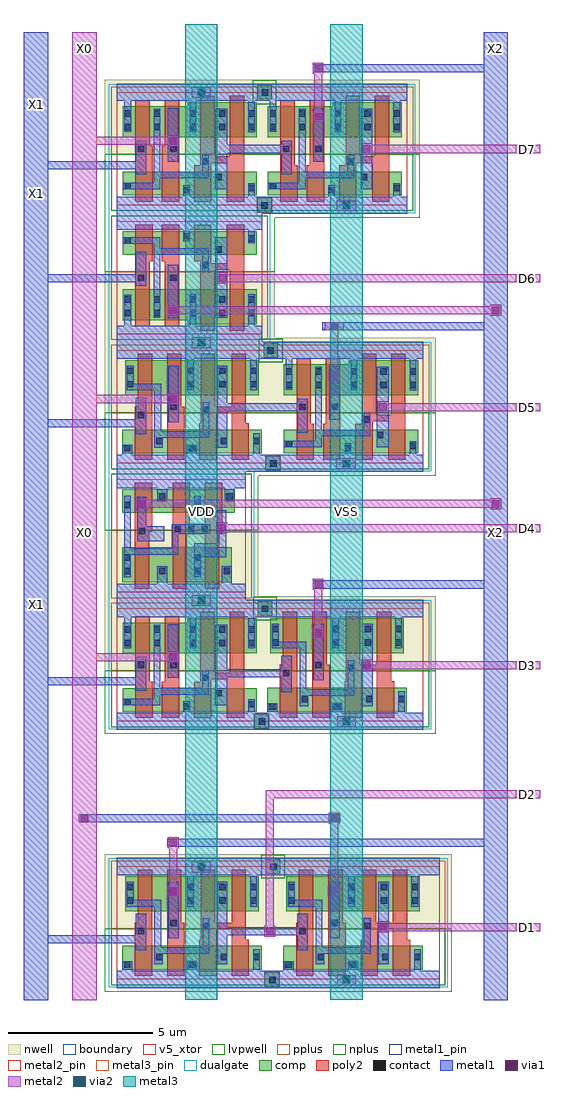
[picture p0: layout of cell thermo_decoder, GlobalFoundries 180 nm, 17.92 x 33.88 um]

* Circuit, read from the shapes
.subckt thermo_decoder D1 D2 D3 D4 D5 D6 D7 VDD VSS X0 X1 X2
XM1 n1 X1 VSS VSS nfet_05v0 w=0.82u l=0.6u
XM2 VSS X2 n2 VSS nfet_05v0 w=0.82u l=0.6u
XM3 n3 X1 VSS VSS nfet_05v0 w=0.82u l=0.6u
XM4 n4 X1 n5 VSS nfet_05v0 w=0.815u l=0.6u
XM5 n6 X1 n7 VSS nfet_05v0 w=0.815u l=0.6u
XM6 n8 X1 n9 VSS nfet_05v0 w=0.815u l=0.6u
XM7 VSS X0 n4 VSS nfet_05v0 w=0.815u l=0.6u
XM8 VSS X2 n6 VSS nfet_05v0 w=0.815u l=0.6u
XM9 VSS X0 n8 VSS nfet_05v0 w=0.815u l=0.6u
XM10 VSS X2 n1 VSS nfet_05v0 w=0.82u l=0.6u
XM11 VSS X0 n3 VSS nfet_05v0 w=0.82u l=0.6u
XM12 D4 n2 VSS VSS nfet_05v0 w=0.82u l=0.6u m=2
XM13 gf180mcu_fd_sc_mcu7t5v0__or2_2_3/A1 n5 VSS VSS nfet_05v0 w=0.815u l=0.6u m=2
XM14 D6 n7 VSS VSS nfet_05v0 w=0.815u l=0.6u m=2
XM15 gf180mcu_fd_sc_mcu7t5v0__and2_2_9/A1 n9 VSS VSS nfet_05v0 w=0.815u l=0.6u m=2
XM16 D2 n1 VSS VSS nfet_05v0 w=0.82u l=0.6u m=2
XM17 gf180mcu_fd_sc_mcu7t5v0__and2_2_5/A1 n3 VSS VSS nfet_05v0 w=0.82u l=0.6u m=2
XM18 n10 gf180mcu_fd_sc_mcu7t5v0__or2_2_3/A1 VSS VSS nfet_05v0 w=0.82u l=0.6u
XM19 n11 gf180mcu_fd_sc_mcu7t5v0__and2_2_9/A1 n12 VSS nfet_05v0 w=0.815u l=0.6u
XM20 n13 D2 VSS VSS nfet_05v0 w=0.82u l=0.6u
XM21 n14 gf180mcu_fd_sc_mcu7t5v0__and2_2_5/A1 n15 VSS nfet_05v0 w=0.815u l=0.6u
XM22 VSS X2 n11 VSS nfet_05v0 w=0.815u l=0.6u
XM23 VSS X2 n10 VSS nfet_05v0 w=0.82u l=0.6u
XM24 VSS X2 n14 VSS nfet_05v0 w=0.815u l=0.6u
XM25 VSS X0 n13 VSS nfet_05v0 w=0.82u l=0.6u
XM26 D7 n12 VSS VSS nfet_05v0 w=0.815u l=0.6u m=2
XM27 D3 n10 VSS VSS nfet_05v0 w=0.82u l=0.6u m=2
XM28 D5 n15 VSS VSS nfet_05v0 w=0.815u l=0.6u m=2
XM29 D1 n13 VSS VSS nfet_05v0 w=0.82u l=0.6u m=2
XM30 VDD X2 n2 VDD pfet_05v0 w=1.22u l=0.5u
XM31 n5 X1 VDD VDD pfet_05v0 w=1.07u l=0.5u
XM32 n7 X1 VDD VDD pfet_05v0 w=1.07u l=0.5u
XM33 n9 X1 VDD VDD pfet_05v0 w=1.07u l=0.5u
XM34 n16 X1 n1 VDD pfet_05v0 w=1.22u l=0.5u
XM35 n17 X1 n3 VDD pfet_05v0 w=1.22u l=0.5u
XM36 VDD X0 n5 VDD pfet_05v0 w=1.07u l=0.5u
XM37 VDD X2 n7 VDD pfet_05v0 w=1.07u l=0.5u
XM38 VDD X0 n9 VDD pfet_05v0 w=1.07u l=0.5u
XM39 VDD X2 n16 VDD pfet_05v0 w=1.22u l=0.5u
XM40 VDD X0 n17 VDD pfet_05v0 w=1.22u l=0.5u
XM41 D4 n2 VDD VDD pfet_05v0 w=1.22u l=0.5u m=2
XM42 gf180mcu_fd_sc_mcu7t5v0__or2_2_3/A1 n5 VDD VDD pfet_05v0 w=1.215u l=0.5u m=2
XM43 D6 n7 VDD VDD pfet_05v0 w=1.215u l=0.5u m=2
XM44 gf180mcu_fd_sc_mcu7t5v0__and2_2_9/A1 n9 VDD VDD pfet_05v0 w=1.215u l=0.5u m=2
XM45 D2 n1 VDD VDD pfet_05v0 w=1.22u l=0.5u m=2
XM46 gf180mcu_fd_sc_mcu7t5v0__and2_2_5/A1 n3 VDD VDD pfet_05v0 w=1.22u l=0.5u m=2
XM47 n12 gf180mcu_fd_sc_mcu7t5v0__and2_2_9/A1 VDD VDD pfet_05v0 w=1.07u l=0.5u
XM48 n18 gf180mcu_fd_sc_mcu7t5v0__or2_2_3/A1 n10 VDD pfet_05v0 w=1.22u l=0.5u
XM49 n15 gf180mcu_fd_sc_mcu7t5v0__and2_2_5/A1 VDD VDD pfet_05v0 w=1.07u l=0.5u
XM50 n19 D2 n13 VDD pfet_05v0 w=1.22u l=0.5u
XM51 VDD X2 n12 VDD pfet_05v0 w=1.07u l=0.5u
XM52 VDD X2 n18 VDD pfet_05v0 w=1.22u l=0.5u
XM53 VDD X2 n15 VDD pfet_05v0 w=1.07u l=0.5u
XM54 VDD X0 n19 VDD pfet_05v0 w=1.22u l=0.5u
XM55 D7 n12 VDD VDD pfet_05v0 w=1.215u l=0.5u m=2
XM56 D3 n10 VDD VDD pfet_05v0 w=1.22u l=0.5u m=2
XM57 D5 n15 VDD VDD pfet_05v0 w=1.215u l=0.5u m=2
XM58 D1 n13 VDD VDD pfet_05v0 w=1.22u l=0.5u m=2
.ends

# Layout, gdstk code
import gdstk
lib = gdstk.Library(unit=1e-6, precision=1e-09)
def R(c, l, rs):  # rectangles x0, y0, x1, y1
    for r in rs: c.add(gdstk.rectangle(r[:2], r[2:], *l))
def A(c, l, x, y, w, h, nx, ny, dx, dy):  # array of equal rectangles
    R(c, l, [(x+i*dx, y+j*dy, x+i*dx+w, y+j*dy+h) for i in range(nx) for j in range(ny)])
def P(c, l, *ps):  # polygons
    for p in ps: c.add(gdstk.Polygon(p, *l))
boundary = (0, 0)
nwell = (21, 0)
comp = (22, 0)
poly2 = (30, 0)
pplus = (31, 0)
nplus = (32, 0)
contact = (33, 0)
metal1 = (34, 0)
metal1_pin = (34, 10)
via1 = (35, 0)
metal2 = (36, 0)
metal2_pin = (36, 10)
via2 = (38, 0)
metal3 = (42, 0)
metal3_pin = (42, 10)
dualgate = (55, 0)
v5_xtor = (112, 1)
lvpwell = (204, 0)

gf180mcu_fd_sc_mcu7t5v0_ = lib.new_cell('gf180mcu_fd_sc_mcu7t5v0__or2_2')
R(gf180mcu_fd_sc_mcu7t5v0_, boundary, [(0,0,5.6,3.92)])
R(gf180mcu_fd_sc_mcu7t5v0_, nwell, [(-0.43,1.76,6.03,4.35)])
R(gf180mcu_fd_sc_mcu7t5v0_, comp, [(0.18,0.34,5.02,1.16), (0.28,2.36,4.92,3.58)])
P(gf180mcu_fd_sc_mcu7t5v0_, poly2, [(0.62,0.12),(0.62,1.97),(0.72,1.97),(0.72,3.8),(1.22,3.8),(1.22,0.12)],
  [(1.74,0.12),(1.74,3.8),(2.24,3.8),(2.24,1.97),(2.34,1.97),(2.34,0.12)],
  [(2.86,0.12),(2.86,1.385),(2.91,1.385),(2.91,3.8),(3.41,3.8),(3.41,1.97),(3.98,1.97),(3.98,3.8),(4.48,3.8),(4.48,1.385),(4.58,1.385),(4.58,0.12),(3.98,0.12),(3.98,1.74),(3.46,1.74),(3.46,0.12)])
R(gf180mcu_fd_sc_mcu7t5v0_, pplus, [(-0.2,1.76,5.8,4.12)])
R(gf180mcu_fd_sc_mcu7t5v0_, nplus, [(-0.2,-0.2,5.8,1.76)])
R(gf180mcu_fd_sc_mcu7t5v0_, contact, [(0.25,0.41,0.47,0.63), (2.49,0.41,2.71,0.63), (1.37,0.665,1.59,0.885), (3.61,0.665,3.83,0.885), (4.73,0.665,4.95,0.885), (0.73,1.565,0.95,1.785), (2.98,1.745,3.2,1.965), (1.85,1.85,2.07,2.07), (0.35,2.63,0.57,2.85), (2.44,2.63,2.66,2.85), (3.56,2.63,3.78,2.85), (4.63,2.63,4.85,2.85), (0.35,3.1,0.57,3.32), (2.44,3.1,2.66,3.32), (3.56,3.1,3.78,3.32), (4.63,3.1,4.85,3.32)])
R(gf180mcu_fd_sc_mcu7t5v0_, metal1, [(3.48,0.53,3.835,3.39), (0.66,1.015,1.02,2.28), (1.78,1.43,2.14,3.39)])
P(gf180mcu_fd_sc_mcu7t5v0_, metal1, [(1.3,0.53),(1.3,2.53),(0.345,2.53),(0.345,3.39),(0.575,3.39),(0.575,2.765),(1.53,2.765),(1.53,1.115),(2.975,1.115),(2.975,2.115),(3.205,2.115),(3.205,0.885),(1.595,0.885),(1.595,0.53)],
  [(0,-0.3),(0,0.3),(0.19,0.3),(0.19,0.635),(0.53,0.635),(0.53,0.3),(2.43,0.3),(2.43,0.635),(2.77,0.635),(2.77,0.3),(4.725,0.3),(4.725,1.045),(4.955,1.045),(4.955,0.3),(5.6,0.3),(5.6,-0.3)],
  [(2.435,2.53),(2.435,3.62),(0,3.62),(0,4.22),(5.6,4.22),(5.6,3.62),(4.855,3.62),(4.855,2.53),(4.625,2.53),(4.625,3.62),(2.665,3.62),(2.665,2.53)])
R(gf180mcu_fd_sc_mcu7t5v0_, dualgate, [(-0.28,-0.28,5.88,4.2)])
R(gf180mcu_fd_sc_mcu7t5v0_, v5_xtor, [(0,0,5.6,3.92)])
R(gf180mcu_fd_sc_mcu7t5v0_, lvpwell, [(-0.43,-0.43,6.03,1.76)])
gf180mcu_fd_sc_mcu7t5v0_.add(gdstk.Label('VDD', (2.8,3.915), layer=34, texttype=10))
gf180mcu_fd_sc_mcu7t5v0_.add(gdstk.Label('VSS', (2.8,-0.005), layer=34, texttype=10))
gf180mcu_fd_sc_mcu7t5v0_.add(gdstk.Label('Z', (3.64,1.96), layer=34, texttype=10))
gf180mcu_fd_sc_mcu7t5v0_.add(gdstk.Label('A1', (0.84,1.4), layer=34, texttype=10))
gf180mcu_fd_sc_mcu7t5v0_.add(gdstk.Label('A2', (1.96,2.52), layer=34, texttype=10))
gf180mcu_fd_sc_mcu7t5v0_.add(gdstk.Label('& Vendor GLOBALFOUNDRIES', (0,2), layer=63, texttype=63))
gf180mcu_fd_sc_mcu7t5v0_.add(gdstk.Label('& Product GF018hv5v_mcu_sc7', (0,1.5), layer=63, texttype=63))
gf180mcu_fd_sc_mcu7t5v0_.add(gdstk.Label('& Version 2015q2v1', (0,1), layer=63, texttype=63))
gf180mcu_fd_sc_mcu7t5v0_.add(gdstk.Label('& Metric 1.00', (0,0.5), layer=63, texttype=63))
gf180mcu_fd_sc_mcu7t5v0_.add(gdstk.Label('VNW', (0.345,3.92), layer=21, texttype=10))
gf180mcu_fd_sc_mcu7t5v0_.add(gdstk.Label('VPW', (0.34,-0.085), layer=204, texttype=10))

c_gf180mcu_fd_sc_mcu7t5v0_ = lib.new_cell('gf180mcu_fd_sc_mcu7t5v0__and2_2')
R(c_gf180mcu_fd_sc_mcu7t5v0_, boundary, [(0,0,5.04,3.92)])
R(c_gf180mcu_fd_sc_mcu7t5v0_, nwell, [(-0.43,1.76,5.47,4.35)])
R(c_gf180mcu_fd_sc_mcu7t5v0_, comp, [(0.195,0.34,4.855,1.155)])
P(c_gf180mcu_fd_sc_mcu7t5v0_, comp, [(0.195,2.36),(0.195,3.43),(2.455,3.43),(2.455,3.575),(4.855,3.575),(4.855,2.36)])
P(c_gf180mcu_fd_sc_mcu7t5v0_, poly2, [(0.635,0.12),(0.635,3.65),(1.135,3.65),(1.135,1.38),(1.235,1.38),(1.235,0.12)],
  [(1.555,0.12),(1.555,1.38),(1.655,1.38),(1.655,3.65),(2.155,3.65),(2.155,0.12)],
  [(2.675,0.12),(2.675,1.38),(2.895,1.38),(2.895,3.8),(3.395,3.8),(3.395,1.69),(3.915,1.69),(3.915,3.8),(4.415,3.8),(4.415,0.12),(3.815,0.12),(3.815,1.46),(3.275,1.46),(3.275,0.12)])
R(c_gf180mcu_fd_sc_mcu7t5v0_, pplus, [(-0.2,1.76,5.24,4.12)])
R(c_gf180mcu_fd_sc_mcu7t5v0_, nplus, [(-0.2,-0.2,5.24,1.76)])
A(c_gf180mcu_fd_sc_mcu7t5v0_, contact, 2.525, 2.605, 0.22, 0.22, 3, 2, 1.02, 0.47)
R(c_gf180mcu_fd_sc_mcu7t5v0_, contact, [(2.305,0.41,2.525,0.63), (4.565,0.485,4.785,0.705), (0.265,0.555,0.485,0.775), (3.425,0.865,3.645,1.085), (2.965,1.405,3.185,1.625), (0.73,1.85,0.95,2.07), (1.85,1.85,2.07,2.07), (0.265,2.605,0.485,2.825), (1.285,2.605,1.505,2.825), (0.265,3.075,0.485,3.295), (1.285,3.075,1.505,3.295)])
R(c_gf180mcu_fd_sc_mcu7t5v0_, metal1, [(3.42,0.55,3.83,3.355), (0.66,1.065,1.02,2.24), (1.77,1.515,2.13,3.37)])
P(c_gf180mcu_fd_sc_mcu7t5v0_, metal1, [(0.195,0.55),(0.195,0.78),(1.28,0.78),(1.28,3.355),(1.51,3.355),(1.51,1.165),(2.96,1.165),(2.96,1.755),(3.19,1.755),(3.19,0.93),(1.51,0.93),(1.51,0.55)],
  [(0,-0.3),(0,0.3),(2.3,0.3),(2.3,0.69),(2.53,0.69),(2.53,0.3),(4.56,0.3),(4.56,0.765),(4.79,0.765),(4.79,0.3),(5.04,0.3),(5.04,-0.3)],
  [(2.52,2.53),(2.52,3.62),(0.49,3.62),(0.49,2.545),(0.26,2.545),(0.26,3.62),(0,3.62),(0,4.22),(5.04,4.22),(5.04,3.62),(4.79,3.62),(4.79,2.53),(4.56,2.53),(4.56,3.62),(2.75,3.62),(2.75,2.53)])
R(c_gf180mcu_fd_sc_mcu7t5v0_, dualgate, [(-0.28,-0.28,5.32,4.2)])
R(c_gf180mcu_fd_sc_mcu7t5v0_, v5_xtor, [(0,0,5.04,3.92)])
R(c_gf180mcu_fd_sc_mcu7t5v0_, lvpwell, [(-0.43,-0.43,5.47,1.76)])
c_gf180mcu_fd_sc_mcu7t5v0_.add(gdstk.Label('VDD', (2.52,3.92), layer=34, texttype=10))
c_gf180mcu_fd_sc_mcu7t5v0_.add(gdstk.Label('VSS', (2.52,0), layer=34, texttype=10))
c_gf180mcu_fd_sc_mcu7t5v0_.add(gdstk.Label('Z', (3.64,1.96), layer=34, texttype=10))
c_gf180mcu_fd_sc_mcu7t5v0_.add(gdstk.Label('A1', (0.84,1.4), layer=34, texttype=10))
c_gf180mcu_fd_sc_mcu7t5v0_.add(gdstk.Label('A2', (1.96,2.52), layer=34, texttype=10))
c_gf180mcu_fd_sc_mcu7t5v0_.add(gdstk.Label('& Vendor GLOBALFOUNDRIES', (0,2), layer=63, texttype=63))
c_gf180mcu_fd_sc_mcu7t5v0_.add(gdstk.Label('& Product GF018hv5v_mcu_sc7', (0,1.5), layer=63, texttype=63))
c_gf180mcu_fd_sc_mcu7t5v0_.add(gdstk.Label('& Version 2015q2v1', (0,1), layer=63, texttype=63))
c_gf180mcu_fd_sc_mcu7t5v0_.add(gdstk.Label('& Metric 1.00', (0,0.5), layer=63, texttype=63))
c_gf180mcu_fd_sc_mcu7t5v0_.add(gdstk.Label('VNW', (0.345,3.92), layer=21, texttype=10))
c_gf180mcu_fd_sc_mcu7t5v0_.add(gdstk.Label('VPW', (0.34,-0.085), layer=204, texttype=10))

c_gf180mcu_fd_sc_mcu7t5v0__ = lib.new_cell('gf180mcu_fd_sc_mcu7t5v0__buf_2')
R(c_gf180mcu_fd_sc_mcu7t5v0__, boundary, [(0,0,4.48,3.92)])
R(c_gf180mcu_fd_sc_mcu7t5v0__, nwell, [(-0.43,1.76,4.91,4.35)])
R(c_gf180mcu_fd_sc_mcu7t5v0__, comp, [(0.18,0.34,4.09,1.16), (0.18,2.36,3.99,3.58)])
P(c_gf180mcu_fd_sc_mcu7t5v0__, poly2, [(0.62,0.12),(0.62,3.8),(1.12,3.8),(1.12,1.81),(1.22,1.81),(1.22,0.12)],
  [(1.93,0.12),(1.93,3.8),(2.43,3.8),(2.43,1.9),(3.05,1.9),(3.05,3.8),(3.55,3.8),(3.55,1.9),(3.65,1.9),(3.65,0.12),(3.05,0.12),(3.05,1.54),(2.53,1.54),(2.53,0.12)])
R(c_gf180mcu_fd_sc_mcu7t5v0__, pplus, [(-0.2,1.76,4.68,4.12)])
R(c_gf180mcu_fd_sc_mcu7t5v0__, nplus, [(-0.2,-0.2,4.68,1.76)])
A(c_gf180mcu_fd_sc_mcu7t5v0__, contact, 2, 1.61, 0.22, 0.22, 3, 1, 0.47, 0)
A(c_gf180mcu_fd_sc_mcu7t5v0__, contact, 0.25, 3.07, 0.22, 0.22, 3, 1, 1.215, 0)
R(c_gf180mcu_fd_sc_mcu7t5v0__, contact, [(1.465,0.485,1.685,0.705), (3.8,0.485,4.02,0.705), (0.25,0.775,0.47,0.995), (2.68,0.775,2.9,0.995), (0.76,1.685,0.98,1.905), (0.25,2.6,0.47,2.82), (2.68,2.6,2.9,2.82), (3.7,3.07,3.92,3.29)])
P(c_gf180mcu_fd_sc_mcu7t5v0__, metal1, [(0.705,0.61),(0.705,2.15),(1.65,2.15),(1.65,1.625),(1.015,1.625),(1.015,0.61)],
  [(0.245,0.57),(0.245,3.39),(0.475,3.39),(0.475,2.625),(2.13,2.625),(2.13,1.89),(3.24,1.89),(3.24,1.55),(1.9,1.55),(1.9,2.39),(0.475,2.39),(0.475,0.57)],
  [(2.675,0.57),(2.675,1.3),(3.48,1.3),(3.48,2.21),(2.675,2.21),(2.675,3.39),(2.905,3.39),(2.905,2.7),(3.8,2.7),(3.8,1.065),(2.905,1.065),(2.905,0.57)],
  [(0,-0.3),(0,0.3),(1.405,0.3),(1.405,0.765),(1.745,0.765),(1.745,0.3),(3.74,0.3),(3.74,0.765),(4.08,0.765),(4.08,0.3),(4.48,0.3),(4.48,-0.3)],
  [(1.405,3.01),(1.405,3.62),(0,3.62),(0,4.22),(4.48,4.22),(4.48,3.62),(3.98,3.62),(3.98,3.01),(3.64,3.01),(3.64,3.62),(1.745,3.62),(1.745,3.01)])
R(c_gf180mcu_fd_sc_mcu7t5v0__, dualgate, [(-0.28,-0.28,4.76,4.2)])
R(c_gf180mcu_fd_sc_mcu7t5v0__, v5_xtor, [(0,0,4.48,3.92)])
R(c_gf180mcu_fd_sc_mcu7t5v0__, lvpwell, [(-0.43,-0.43,4.91,1.76)])
c_gf180mcu_fd_sc_mcu7t5v0__.add(gdstk.Label('VSS', (2.15,0), layer=34, texttype=10))
c_gf180mcu_fd_sc_mcu7t5v0__.add(gdstk.Label('Z', (3.08,2.52), layer=34, texttype=10))
c_gf180mcu_fd_sc_mcu7t5v0__.add(gdstk.Label('I', (0.84,1.4), layer=34, texttype=10))
c_gf180mcu_fd_sc_mcu7t5v0__.add(gdstk.Label('VDD', (2.15,3.92), layer=34, texttype=10))
c_gf180mcu_fd_sc_mcu7t5v0__.add(gdstk.Label('& Vendor GLOBALFOUNDRIES', (0,2), layer=63, texttype=63))
c_gf180mcu_fd_sc_mcu7t5v0__.add(gdstk.Label('& Product GF018hv5v_mcu_sc7', (0,1.5), layer=63, texttype=63))
c_gf180mcu_fd_sc_mcu7t5v0__.add(gdstk.Label('& Version 2015q2v1', (0,1), layer=63, texttype=63))
c_gf180mcu_fd_sc_mcu7t5v0__.add(gdstk.Label('& Metric 1.00', (0,0.5), layer=63, texttype=63))
c_gf180mcu_fd_sc_mcu7t5v0__.add(gdstk.Label('VNW', (0.345,3.92), layer=21, texttype=10))
c_gf180mcu_fd_sc_mcu7t5v0__.add(gdstk.Label('VPW', (0.34,-0.085), layer=204, texttype=10))

thermo_decoder = lib.new_cell('thermo_decoder')
R(thermo_decoder, nwell, [(10.08,2.7,10.58,3.2), (9.8,11.66,10.3,12.16), (6.69,19,7.07,19.38), (10,20.62,10.5,21.12), (8.705,23.24,9.575,23.52), (9.78,29.58,10.28,30.08)])
R(thermo_decoder, comp, [(10.045,-1.22,10.545,-0.72), (10.08,2.7,10.58,3.2), (9.685,7.74,10.185,8.24), (9.8,11.66,10.3,12.16), (10.08,16.7,10.58,17.2), (10,20.62,10.5,21.12), (9.785,25.66,10.285,26.16), (9.78,29.58,10.28,30.08)])
R(thermo_decoder, poly2, [(6.045,27.29,6.145,27.97), (6.465,27.29,6.565,27.97)])
R(thermo_decoder, pplus, [(10.025,-1.24,10.565,-0.7), (9.665,7.72,10.205,8.26), (9.925,10.19,10.07,11.725), (10.06,16.68,10.6,17.22), (9.765,25.64,10.305,26.18), (9.925,28.11,9.985,29.5)])
R(thermo_decoder, nplus, [(9.92,2.54,10.74,3.36), (9.925,8.17,9.97,9.305), (9.64,11.5,10.46,12.32), (9.84,20.46,10.66,21.28), (9.925,26.09,9.985,27.225), (9.62,29.42,10.44,30.24)])
R(thermo_decoder, contact, [(10.2,-1.105,10.42,-0.885), (10.23,2.83,10.45,3.05), (9.83,7.87,10.05,8.09), (9.935,11.79,10.155,12.01), (10.235,16.83,10.455,17.05), (10.125,20.75,10.345,20.97), (9.92,25.79,10.14,26.01), (9.945,29.715,10.165,29.935)])
A(thermo_decoder, metal1, 12.6, -1.12, 0.56, 0.28, 1, 4, 0, 8.96)
A(thermo_decoder, metal1, 17.64, 3.92, 0.84, 8.68, 1, 3, 0, 8.96)
R(thermo_decoder, metal1, [(1.68,-1.685,2.52,0.28), (17.64,-1.685,18.48,3.64), (10.17,-1.135,10.45,-0.855), (1.68,0.28,5.82,0.56), (1.68,0.56,2.52,9.24), (8.645,0.56,11.395,0.84), (14.03,0.705,14.31,0.985), (6.72,1.96,7,2.24), (12.32,1.975,12.6,2.255), (7.56,2.8,8.12,3.08), (10.2,2.8,10.48,3.08), (6.66,3.64,18.48,3.92), (3.58,4.48,12.66,4.76), (9.8,7.84,10.08,8.12), (1.68,9.24,5.865,9.52), (1.68,9.52,2.52,18.2), (8.4,9.52,10.865,9.8), (13.44,9.8,13.72,10.08), (6.72,10.08,7,10.36), (11.76,10.92,12.04,11.2), (9.905,11.76,10.185,12.04), (7.56,12.04,8.12,12.32), (11.7,12.6,18.48,12.88), (8.4,14.56,8.68,14.84), (5.63,15.4,5.91,15.68), (10.205,16.8,10.485,17.085), (1.68,18.2,5.825,18.48), (1.68,18.48,2.52,23.24), (8.5,18.76,11.39,19.04), (14,18.76,14.28,19.04), (6.72,19.04,7,19.32), (12.32,19.88,12.6,20.16), (10.095,20.72,10.375,21), (7.56,21,8.12,21.28), (12.04,21.56,18.48,21.84), (6.72,22.12,7,22.4), (1.68,23.24,5.88,23.52), (8.43,23.24,8.71,23.52), (1.68,23.52,2.52,27.16), (9.89,25.76,10.17,26.04), (1.68,27.16,5.88,27.44), (1.68,27.44,2.52,31.92), (8.405,27.72,10.75,28), (13.44,27.72,13.72,28), (6.72,28,7,28.28), (11.76,28.84,12.04,29.12), (7.56,29.68,8.12,29.96), (9.915,29.685,10.195,29.965), (11.7,30.52,18.48,30.8), (17.64,30.8,18.48,31.92)])
R(thermo_decoder, metal1_pin, [(1.68,-1.685,2.52,25.76), (17.64,-1.685,18.48,30.8), (1.68,25.76,2.52,26.88), (1.68,26.88,2.52,31.92), (17.64,30.8,18.48,31.92)])
A(thermo_decoder, via1, 12.75, -1.11, 0.26, 0.26, 1, 4, 0, 8.96)
R(thermo_decoder, via1, [(10.09,0.57,10.35,0.83), (14.04,0.715,14.3,0.975), (6.73,1.97,6.99,2.23), (12.33,1.985,12.59,2.245), (7.71,2.81,7.97,3.07), (6.73,3.65,6.99,3.91), (3.65,4.49,3.91,4.75), (12.33,4.49,12.59,4.75), (13.45,9.81,13.71,10.07), (6.73,10.09,6.99,10.35), (11.77,10.93,12.03,11.19), (7.71,12.05,7.97,12.31), (11.77,12.61,12.03,12.87), (8.41,14.57,8.67,14.83), (5.64,15.41,5.9,15.67), (17.93,15.41,18.19,15.67), (14.01,18.77,14.27,19.03), (6.73,19.05,6.99,19.31), (12.33,19.89,12.59,20.15), (7.71,21.01,7.97,21.27), (12.33,21.56,12.59,21.82), (6.73,22.13,6.99,22.39), (17.93,22.13,18.19,22.39), (8.44,23.25,8.7,23.51), (13.45,27.73,13.71,27.99), (6.73,28.01,6.99,28.27), (11.77,28.85,12.03,29.11), (7.71,29.69,7.97,29.95), (11.77,30.53,12.03,30.79)])
R(thermo_decoder, metal2, [(3.36,-1.685,4.2,10.08), (12.56,-1.165,13.205,-0.8), (10.025,0.51,10.405,0.89), (13.97,0.67,14.37,0.705), (13.97,0.705,19.6,0.985), (10.08,0.89,10.36,5.32), (13.97,0.985,14.37,1.05), (6.67,1.91,7.05,2.29), (12.27,1.925,12.65,2.305), (6.72,2.29,7,3.59), (12.32,2.305,12.6,4.43), (7.505,2.735,8.165,3.125), (6.67,3.59,7.05,3.97), (12.265,4.43,12.645,4.81), (10.08,5.32,19.6,5.6), (12.56,7.795,13.205,8.165), (13.4,9.75,13.78,9.8), (13.4,9.8,19.6,10.08), (6.67,10.04,7.05,10.08), (3.36,10.08,7.05,10.36), (13.4,10.08,13.78,10.13), (3.36,10.36,4.2,19.04), (6.67,10.36,7.05,10.42), (11.71,10.88,12.09,11.26), (11.76,11.26,12.04,12.555), (7.515,12,8.16,12.375), (11.7,12.555,12.08,12.935), (8.355,14.515,8.735,14.56), (8.355,14.56,19.6,14.84), (8.355,14.84,8.735,14.895), (17.865,15.35,18.245,15.4), (5.58,15.355,5.96,15.4), (5.58,15.4,18.245,15.68), (5.58,15.68,5.96,15.735), (17.865,15.68,18.245,15.73), (12.53,16.76,13.205,17.12), (13.96,18.715,14.34,18.76), (13.96,18.76,19.6,19.04), (6.69,19,7.07,19.04), (3.36,19.04,7.07,19.32), (13.96,19.04,14.34,19.095), (3.36,19.32,4.2,28), (6.69,19.32,7.07,19.38), (12.27,19.825,12.65,20.205), (12.32,20.205,12.6,21.56), (7.515,20.945,8.16,21.32), (12.13,21.56,12.79,21.84), (6.68,22.075,7.06,22.12), (17.87,22.075,18.25,22.12), (6.68,22.12,18.25,22.4), (6.68,22.4,7.06,22.455), (17.87,22.4,18.25,22.455), (8.385,23.195,8.765,23.24), (8.385,23.24,19.6,23.52), (8.385,23.52,8.765,23.575), (12.54,25.715,13.22,26.075), (13.39,27.675,13.77,27.72), (13.39,27.72,19.6,28), (6.68,27.955,7.06,28), (3.36,28,7.06,28.28), (13.39,28,13.77,28.055), (3.36,28.28,4.2,31.92), (6.68,28.28,7.06,28.335), (11.72,28.79,12.1,29.17), (11.76,29.17,12.04,30.47), (7.505,29.64,8.16,30.01), (11.7,30.47,12.08,30.85)])
A(thermo_decoder, metal2_pin, 18.76, 18.76, 0.84, 0.28, 1, 3, 0, 4.48)
R(thermo_decoder, metal2_pin, [(3.36,-1.685,4.2,30.8), (18.76,0.705,19.6,0.985), (18.76,5.32,19.6,5.6), (18.76,9.8,19.6,10.08), (18.76,14.56,19.6,14.84), (3.36,30.8,4.2,31.92)])
A(thermo_decoder, via2, 12.75, -1.11, 0.26, 0.26, 1, 4, 0, 8.96)
R(thermo_decoder, via2, [(7.71,2.81,7.97,3.07), (7.71,12.05,7.97,12.31), (7.71,21.01,7.97,21.27), (7.71,29.69,7.97,29.95)])
R(thermo_decoder, metal3, [(7.28,-1.68,8.4,32.2), (12.32,-1.68,13.44,32.2)])
R(thermo_decoder, metal3_pin, [(7.28,-1.68,8.4,32.2), (12.32,-1.68,13.44,32.2)])
R(thermo_decoder, dualgate, [(10.17,-0.87,10.45,0.43), (9.725,9.385,9.89,9.39), (9.725,11.805,9.99,11.81), (10.17,17.05,10.465,18.345), (10.07,19.07,10.465,20.62), (10.005,29.58,10.185,29.725)])
thermo_decoder.add(gdstk.Reference(gf180mcu_fd_sc_mcu7t5v0_, (10.51,-0.97)))
thermo_decoder.add(gdstk.Reference(gf180mcu_fd_sc_mcu7t5v0_, (4.91,-0.97)))
thermo_decoder.add(gdstk.Reference(c_gf180mcu_fd_sc_mcu7t5v0_, (4.91,7.99)))
thermo_decoder.add(gdstk.Reference(gf180mcu_fd_sc_mcu7t5v0_, (9.95,7.99)))
thermo_decoder.add(gdstk.Reference(c_gf180mcu_fd_sc_mcu7t5v0__, (4.91,16.39), x_reflection=True))
thermo_decoder.add(gdstk.Reference(c_gf180mcu_fd_sc_mcu7t5v0_, (10.51,16.95)))
thermo_decoder.add(gdstk.Reference(gf180mcu_fd_sc_mcu7t5v0_, (4.91,16.95)))
thermo_decoder.add(gdstk.Reference(c_gf180mcu_fd_sc_mcu7t5v0_, (4.91,25.35), x_reflection=True))
thermo_decoder.add(gdstk.Reference(c_gf180mcu_fd_sc_mcu7t5v0_, (4.91,25.91)))
thermo_decoder.add(gdstk.Reference(c_gf180mcu_fd_sc_mcu7t5v0_, (9.95,25.91)))
thermo_decoder.add(gdstk.Label('X0', (3.78,14.557), layer=36, texttype=10))
thermo_decoder.add(gdstk.Label('X0', (3.78,31.36), layer=36, texttype=10))
thermo_decoder.add(gdstk.Label('X1', (2.1,12.037), layer=34, texttype=10))
thermo_decoder.add(gdstk.Label('X1', (2.1,29.4), layer=34, texttype=10))
thermo_decoder.add(gdstk.Label('X1', (2.1,26.32), layer=34, texttype=10))
thermo_decoder.add(gdstk.Label('X2', (18.06,14.557), layer=34, texttype=10))
thermo_decoder.add(gdstk.Label('X2', (18.06,31.36), layer=34, texttype=10))
thermo_decoder.add(gdstk.Label('D1', (19.18,0.845), layer=36, texttype=10))
thermo_decoder.add(gdstk.Label('D2', (19.18,5.46), layer=36, texttype=10))
thermo_decoder.add(gdstk.Label('D3', (19.18,9.94), layer=36, texttype=10))
thermo_decoder.add(gdstk.Label('D4', (19.18,14.7), layer=36, texttype=10))
thermo_decoder.add(gdstk.Label('D5', (19.18,18.9), layer=36, texttype=10))
thermo_decoder.add(gdstk.Label('D6', (19.18,23.38), layer=36, texttype=10))
thermo_decoder.add(gdstk.Label('D7', (19.18,27.86), layer=36, texttype=10))
thermo_decoder.add(gdstk.Label('VDD', (7.84,15.26), layer=42, texttype=10))
thermo_decoder.add(gdstk.Label('VSS', (12.88,15.26), layer=42, texttype=10))

lib.write_gds('thermo_decoder.gds')
